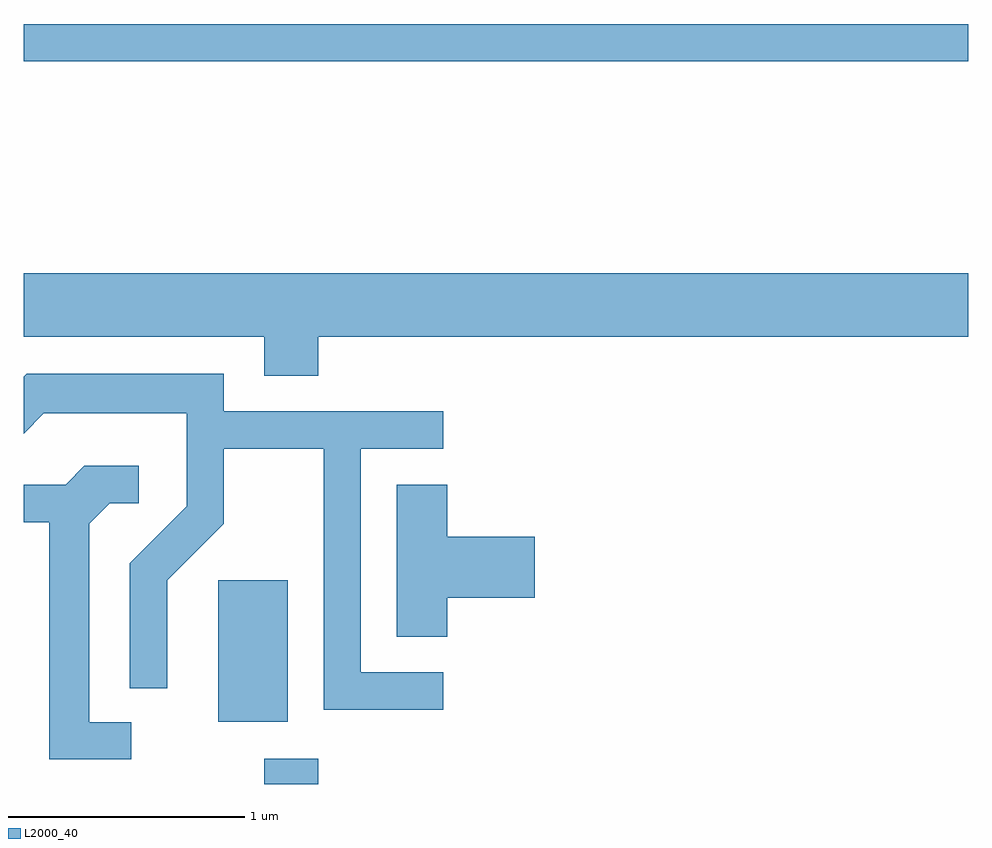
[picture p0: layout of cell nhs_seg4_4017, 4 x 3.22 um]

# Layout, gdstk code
import gdstk
lib = gdstk.Library(unit=1e-6, precision=1e-09)
def R(c, l, rs):  # rectangles x0, y0, x1, y1
    for r in rs: c.add(gdstk.rectangle(r[:2], r[2:], *l))
def P(c, l, *ps):  # polygons
    for p in ps: c.add(gdstk.Polygon(p, *l))
L2000_40 = (2000, 40)

nhs_seg4_4017 = lib.new_cell('nhs_seg4_4017')
R(nhs_seg4_4017, L2000_40, [(304.631,1263.982,304.859,1264.089), (304.436,1264.246,304.729,1264.844), (303.611,1267.041,307.611,1267.199)])
P(nhs_seg4_4017, L2000_40, [(304.859,1265.876),(307.611,1265.876),(307.611,1266.144),(303.611,1266.144),(303.611,1265.876),(304.631,1265.876),(304.631,1265.711),(304.859,1265.711)],
  [(305.388,1264.454),(305.039,1264.454),(305.039,1265.401),(305.388,1265.401),(305.388,1265.559),(304.459,1265.559),(304.459,1265.719),(303.624,1265.719),(303.611,1265.706),(303.611,1265.465),(303.697,1265.551),(304.301,1265.551),(304.301,1265.157),(304.061,1264.917),(304.061,1264.388),(304.219,1264.388),(304.219,1264.844),(304.459,1265.084),(304.459,1265.401),(304.881,1265.401),(304.881,1264.296),(305.388,1264.296)],
  [(304.068,1264.244),(303.889,1264.244),(303.889,1265.084),(303.977,1265.171),(304.098,1265.171),(304.098,1265.329),(303.869,1265.329),(303.789,1265.249),(303.611,1265.249),(303.611,1265.091),(303.721,1265.091),(303.721,1264.086),(304.068,1264.086)],
  [(305.404,1264.771),(305.774,1264.771),(305.774,1265.029),(305.404,1265.029),(305.404,1265.249),(305.191,1265.249),(305.191,1264.606),(305.404,1264.606)])

lib.write_gds('nhs_seg4_4017.gds')
